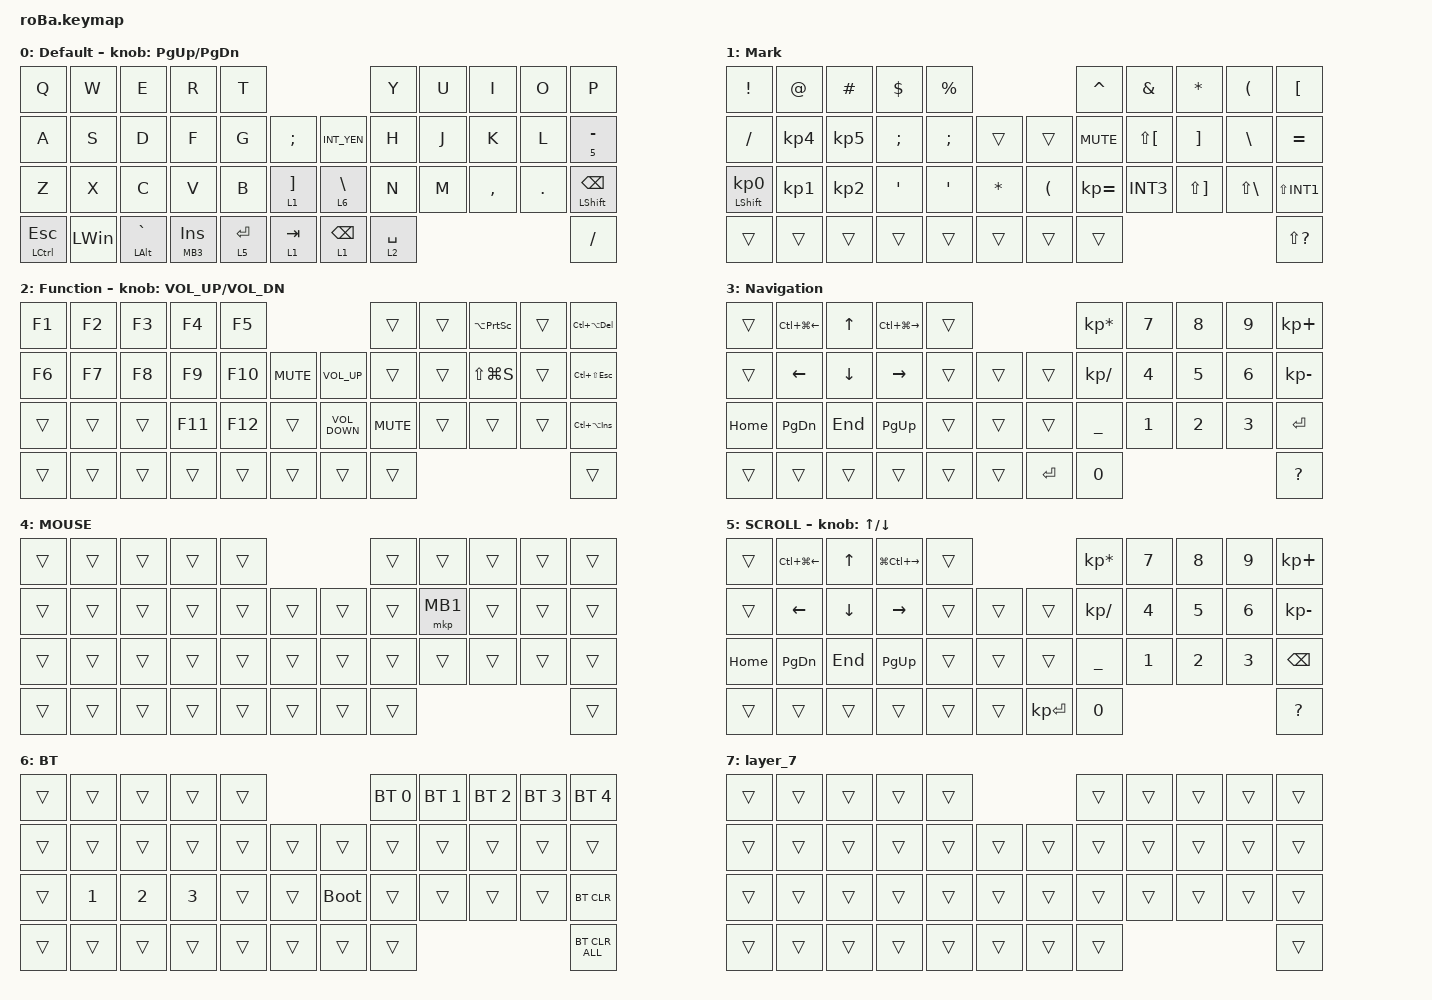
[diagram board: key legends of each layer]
#include <behaviors.dtsi>
#include <dt-bindings/zmk/bt.h>
#include <dt-bindings/zmk/keys.h>
#include <dt-bindings/zmk/mouse.h>

#define MOUSE 4
#define SCROLL 5
#define NUM 6

&mt {
    flavor = "balanced";
    quick-tap-ms = <0>;
};

/ {
    combos {
        compatible = "zmk,combos";

        ZenkakuHankaku {
            bindings = <&kp GRAVE>;
            key-positions = <11 12>;
        };

        DeleteKey {
            bindings = <&kp DEL>;
            key-positions = <7 8>;
        };

        RightClick {
            bindings = <&mkp MB2>;
            key-positions = <19 20>;
        };

        PrevClick {
            bindings = <&mkp MB4>;
            key-positions = <32 31>;
        };

        InsertKey {
            bindings = <&kp INS>;
            key-positions = <6 7>;
        };

        ClickNext {
            bindings = <&mkp MB5>;
            key-positions = <31 30>;
        };
    };

    macros {
        to_layer_0: to_layer_0 {
            compatible = "zmk,behavior-macro-one-param";
            #binding-cells = <1>;
            bindings = <&to 1 &macro_param_1to1 &kp MACRO_PLACEHOLDER>;
            label = "TO_LAYER_0";
        };
    };

    behaviors {
        lt_to_layer_0: lt_to_layer_0 {
            compatible = "zmk,behavior-hold-tap";
            label = "LAYER_TAP_TO_0";
            bindings = <&mo>, <&to_layer_0>;

            #binding-cells = <2>;
            tapping-term-ms = <33>;
        };

        rpi: require_prior_idle {
            compatible = "zmk,behavior-hold-tap";
            #binding-cells = <2>;
            flavor = "tap-preferred";
            tapping-term-ms = <200>;
            quick-tap-ms = <200>;
            require-prior-idle-ms = <125>;
            bindings = <&kp>, <&kp>;

            hold-trigger-key-positions = <33>;
        };

        rplt: rplt {
            compatible = "zmk,behavior-hold-tap";
            #binding-cells = <2>;
            flavor = "tap-preferred";
            tapping-term-ms = <200>;
            quick-tap-ms = <200>;
            require-prior-idle-ms = <125>;
            bindings = <&lt>, <&kp>;

            label = "RPLT";
        };

        rpmt: rpmt {
            compatible = "zmk,behavior-hold-tap";
            #binding-cells = <2>;
            flavor = "tap-preferred";
            tapping-term-ms = <150>;
            quick-tap-ms = <150>;
            require-prior-idle-ms = <125>;
            bindings = <&mkp>, <&kp>;

            label = "RPMT";
            hold-trigger-key-positions = <33>;
        };
    };

    keymap {
        compatible = "zmk,keymap";

        Default {
            bindings = <
&kp Q          &kp W         &kp E               &kp R          &kp T                                                &kp Y        &kp U  &kp I      &kp O    &kp P
&kp A          &kp S         &kp D               &kp F          &kp G        &kp SEMICOLON          &kp INT_YEN      &kp H        &kp J  &kp K      &kp L    &rplt 5 MINUS
&kp Z          &kp X         &kp C               &kp V          &kp B        &lt 1 RIGHT_BRACKET    &lt 6 BACKSLASH  &kp N        &kp M  &kp COMMA  &kp DOT  &mt LEFT_SHIFT BACKSPACE
&mt LCTRL ESC  &kp LEFT_WIN  &mt LEFT_ALT GRAVE  &rpmt MB3 INS  &lt 5 ENTER  &lt 1 TAB              &lt 1 BACKSPACE  &lt 2 SPACE                             &kp SLASH
            >;

            sensor-bindings = <&inc_dec_kp PG_UP PAGE_DOWN>;
        };

        Mark {
            bindings = <
&kp EXCLAMATION             &kp AT           &kp HASH         &kp DOLLAR     &kp PERCENT                                          &kp CARET     &kp AMPERSAND  &kp ASTERISK           &kp LEFT_PARENTHESIS  &kp LBKT
&kp SLASH                   &kp KP_NUMBER_4  &kp KP_NUMBER_5  &kp SEMICOLON  &kp SEMICOLON  &trans          &trans                &kp C_MUTE    &kp LS(LBKT)   &kp RIGHT_BRACKET      &kp BACKSLASH         &kp EQUAL
&mt LEFT_SHIFT KP_NUMBER_0  &kp KP_NUMBER_1  &kp KP_NUMBER_2  &kp APOS       &kp SQT        &kp ASTERISK    &kp LEFT_PARENTHESIS  &kp KP_EQUAL  &kp INT3       &kp LS(RIGHT_BRACKET)  &kp LS(BACKSLASH)     &kp LS(INT1)
&trans                      &trans           &trans           &trans         &trans         &trans          &trans                &trans                                                                    &kp LS(QUESTION)
            >;
        };

        Function {
            bindings = <
&kp F1  &kp F2  &kp F3  &kp F4   &kp F5                                    &trans      &trans  &kp LA(PRINTSCREEN)  &trans  &kp LC(LA(DELETE))
&kp F6  &kp F7  &kp F8  &kp F9   &kp F10  &kp C_MUTE    &kp C_VOLUME_UP    &trans      &trans  &kp LS(LG(S))        &trans  &kp LC(LS(ESCAPE))
&trans  &trans  &trans  &kp F11  &kp F12  &trans        &kp C_VOLUME_DOWN  &kp C_MUTE  &trans  &trans               &trans  &kp LC(LA(INS))
&trans  &trans  &trans  &trans   &trans   &trans        &trans             &trans                                           &trans
            >;

            sensor-bindings = <&inc_dec_kp C_VOL_UP C_VOL_DN>;
        };

        Navigation {
            bindings = <
&trans    &kp LC(LG(LEFT_ARROW))  &kp UP_ARROW  &kp LC(LG(RIGHT_ARROW))  &trans                       &kp KP_MULTIPLY  &kp NUMBER_7  &kp NUMBER_8  &kp NUMBER_9  &kp KP_PLUS
&trans    &kp LEFT_ARROW          &kp DOWN      &kp RIGHT_ARROW          &trans  &trans    &trans     &kp KP_SLASH     &kp NUMBER_4  &kp NUMBER_5  &kp NUMBER_6  &kp KP_MINUS
&kp HOME  &kp PAGE_DOWN           &kp END       &kp PAGE_UP              &trans  &trans    &trans     &kp UNDER        &kp NUMBER_1  &kp NUMBER_2  &kp NUMBER_3  &kp ENTER
&trans    &trans                  &trans        &trans                   &trans  &trans    &kp ENTER  &kp NUMBER_0                                               &kp QUESTION
            >;
        };

        MOUSE {
            bindings = <
&trans  &trans  &trans  &trans  &trans                    &trans  &trans    &trans  &trans  &trans
&trans  &trans  &trans  &trans  &trans  &trans    &trans  &trans  &mkp MB1  &trans  &trans  &trans
&trans  &trans  &trans  &trans  &trans  &trans    &trans  &trans  &trans    &trans  &trans  &trans
&trans  &trans  &trans  &trans  &trans  &trans    &trans  &trans                            &trans
            >;
        };

        SCROLL {
            bindings = <
&trans    &kp LC(LG(LEFT))  &kp UP_ARROW    &kp LG(LC(RIGHT))  &trans                          &kp KP_MULTIPLY  &kp N7        &kp N8        &kp N9        &kp KP_PLUS
&trans    &kp LEFT          &kp DOWN_ARROW  &kp RIGHT_ARROW    &trans  &trans    &trans        &kp KP_SLASH     &kp NUMBER_4  &kp N5        &kp NUMBER_6  &kp KP_MINUS
&kp HOME  &kp PAGE_DOWN     &kp END         &kp PG_UP          &trans  &trans    &trans        &kp UNDERSCORE   &kp NUMBER_1  &kp NUMBER_2  &kp NUMBER_3  &kp BACKSPACE
&trans    &trans            &trans          &trans             &trans  &trans    &kp KP_ENTER  &kp N0                                                     &kp QUESTION
            >;

            sensor-bindings = <&inc_dec_kp UP_ARROW DOWN_ARROW>;
        };

        BT {
            bindings = <
&trans  &trans        &trans        &trans        &trans                         &bt BT_SEL 0  &bt BT_SEL 1  &bt BT_SEL 2  &bt BT_SEL 3  &bt BT_SEL 4
&trans  &trans        &trans        &trans        &trans  &trans    &trans       &trans        &trans        &trans        &trans        &trans
&trans  &kp NUMBER_1  &kp NUMBER_2  &kp NUMBER_3  &trans  &trans    &bootloader  &trans        &trans        &trans        &trans        &bt BT_CLR
&trans  &trans        &trans        &trans        &trans  &trans    &trans       &trans                                                  &bt BT_CLR_ALL
            >;
        };

        layer_7 {
            bindings = <
&trans  &trans  &trans  &trans  &trans                    &trans  &trans  &trans  &trans  &trans
&trans  &trans  &trans  &trans  &trans  &trans    &trans  &trans  &trans  &trans  &trans  &trans
&trans  &trans  &trans  &trans  &trans  &trans    &trans  &trans  &trans  &trans  &trans  &trans
&trans  &trans  &trans  &trans  &trans  &trans    &trans  &trans                          &trans
            >;
        };
    };
};
